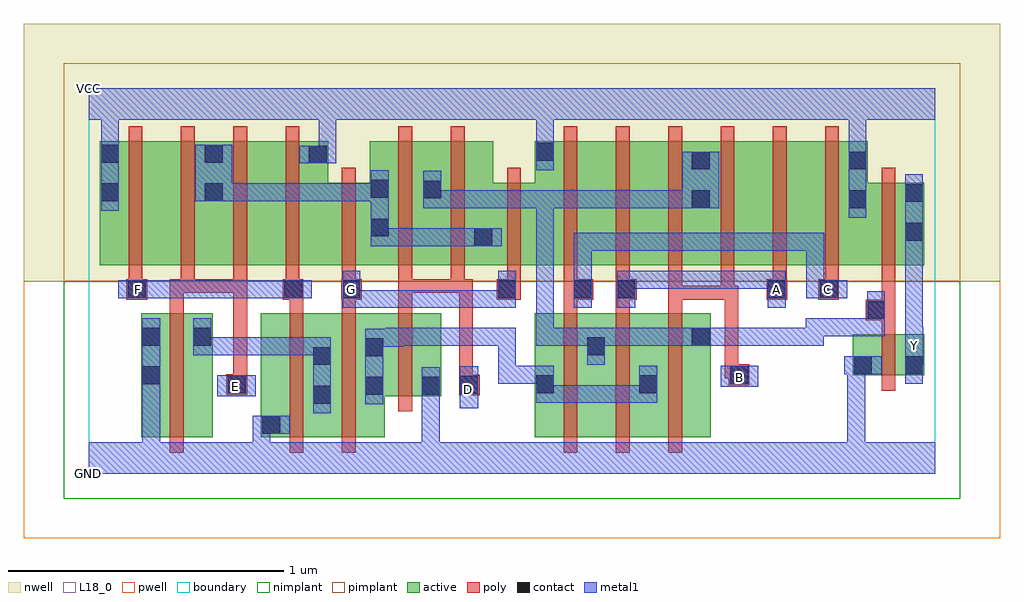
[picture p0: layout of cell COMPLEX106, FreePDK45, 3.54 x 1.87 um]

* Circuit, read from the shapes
.subckt COMPLEX106 A B C D E F G GND VCC Y
M1 n1 E GND VSUBS nfet w=0.45u l=0.05u
M2 n1 F GND VSUBS nfet w=0.45u l=0.05u
M3 n2 G n1 VSUBS nfet w=0.45u l=0.05u
M4 GND D n2 VSUBS nfet w=0.3u l=0.05u
M5 n3 C n2 VSUBS nfet w=0.45u l=0.05u
M6 n2 A n3 VSUBS nfet w=0.45u l=0.05u
M7 n3 B n2 VSUBS nfet w=0.45u l=0.05u
M8 Y n3 GND VSUBS nfet w=0.15u l=0.05u
M9 n4 F VCC n5 pfet w=0.45u l=0.05u
M10 n6 E n4 n5 pfet w=0.45u l=0.05u
M11 n7 E n6 n5 pfet w=0.45u l=0.05u
M12 VCC F n7 n5 pfet w=0.45u l=0.05u
M13 n6 G VCC n5 pfet w=0.3u l=0.05u m=2
M14 n3 D n6 n5 pfet w=0.45u l=0.05u m=2
M15 n8 C VCC n5 pfet w=0.45u l=0.05u
M16 n9 A n8 n5 pfet w=0.45u l=0.05u
M17 n3 B n9 n5 pfet w=0.45u l=0.05u
M18 n10 B n3 n5 pfet w=0.45u l=0.05u
M19 n11 A n10 n5 pfet w=0.45u l=0.05u
M20 VCC C n11 n5 pfet w=0.45u l=0.05u
M21 Y n3 VCC n5 pfet w=0.3u l=0.05u
.ends

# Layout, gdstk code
import gdstk
lib = gdstk.Library(unit=1e-6, precision=1e-09)
def R(c, l, rs):  # rectangles x0, y0, x1, y1
    for r in rs: c.add(gdstk.rectangle(r[:2], r[2:], *l))
def A(c, l, x, y, w, h, nx, ny, dx, dy):  # array of equal rectangles
    R(c, l, [(x+i*dx, y+j*dy, x+i*dx+w, y+j*dy+h) for i in range(nx) for j in range(ny)])
active = (1, 0)
pwell = (2, 0)
nwell = (3, 0)
nimplant = (4, 0)
pimplant = (5, 0)
poly = (9, 0)
contact = (10, 0)
metal1 = (11, 0)
L18_0 = (18, 0)
boundary = (235, 0)

complex106 = lib.new_cell('COMPLEX106')
R(complex106, active, [(0.19,0.132,0.45,0.582), (0.625,0.132,0.885,0.582), (0.625,0.132,0.7,0.582), (0.81,0.132,1.075,0.582), (1.62,0.132,1.88,0.582), (1.805,0.132,2.07,0.582), (1.995,0.132,2.26,0.582), (0.19,0.195,0.265,0.582), (0.375,0.195,0.45,0.582), (0.81,0.195,0.885,0.542), (1.62,0.195,1.695,0.582), (1.805,0.195,1.88,0.542), (1.995,0.195,2.07,0.542), (2.185,0.195,2.26,0.582), (1,0.2,1.075,0.497), (1,0.282,1.28,0.582), (1.205,0.282,1.28,0.582), (2.775,0.357,2.85,0.507), (2.775,0.357,3.035,0.507), (2.96,0.357,3.035,0.507), (0.04,0.757,0.115,1.207), (0.04,0.757,0.265,1.207), (0.265,0.757,0.492,1.207), (0.417,0.757,0.492,1.2), (0.417,0.757,0.645,1.207), (0.645,0.757,0.87,1.207), (0.795,0.757,1.095,1.057), (1.02,0.757,1.285,1.207), (1.02,0.757,1.095,1.2), (1.21,0.757,1.47,1.207), (1.21,0.757,1.285,1.2), (1.395,0.757,1.695,1.057), (1.62,0.757,1.845,1.207), (1.845,0.757,2.035,1.207), (2.035,0.757,2.26,1.207), (2.185,0.757,2.415,1.207), (2.185,0.757,2.26,1.2), (2.415,0.757,2.605,1.207), (2.605,0.757,2.83,1.207), (2.755,0.757,3.035,1.057), (2.755,0.757,2.83,1.175), (2.96,0.757,3.035,1.057), (1.395,0.822,1.47,1.07), (0.795,0.852,0.87,1.197), (1.62,0.937,1.695,1.207)])
R(complex106, pwell, [(-0.235,-0.235,3.31,0.7)])
R(complex106, nwell, [(-0.235,0.7,3.31,1.635)])
R(complex106, nimplant, [(-0.09,-0.09,3.165,0.7)])
R(complex106, pimplant, [(-0.09,0.7,3.165,1.49)])
A(complex106, poly, 1.725, 0.077, 0.05, 0.56, 3, 1, 0.19, 0)
A(complex106, poly, 1.725, 0.587, 0.05, 0.095, 3, 1, 0.19, 0)
A(complex106, poly, 0.145, 0.657, 0.05, 0.095, 4, 1, 0.19, 0)
A(complex106, poly, 1.315, 0.657, 0.05, 0.095, 3, 1, 0.205, 0)
A(complex106, poly, 0.145, 0.702, 0.05, 0.56, 4, 1, 0.19, 0)
A(complex106, poly, 1.725, 0.702, 0.05, 0.56, 6, 1, 0.19, 0)
R(complex106, poly, [(0.295,0.077,0.345,0.637), (0.73,0.077,0.78,0.637), (0.92,0.077,0.97,0.637), (1.125,0.227,1.175,0.637), (1.345,0.285,1.42,0.36), (0.5,0.287,0.575,0.362), (2.88,0.302,2.93,0.562), (1.345,0.31,1.395,0.707), (0.525,0.312,0.575,0.362), (0.525,0.312,0.575,0.362), (0.525,0.312,0.575,0.707), (2.325,0.322,2.4,0.397), (2.31,0.347,2.36,0.682), (2.31,0.347,2.375,0.397), (2.325,0.347,2.375,0.397), (2.88,0.512,2.93,0.607), (2.822,0.557,2.93,0.632), (2.88,0.582,2.93,0.752), (0.295,0.587,0.345,0.707), (0.73,0.587,0.78,0.682), (0.92,0.587,0.97,0.682), (1.125,0.587,1.175,0.707), (0.137,0.632,0.212,0.707), (0.705,0.632,0.78,0.707), (0.917,0.632,0.992,0.707), (1.482,0.632,1.57,0.707), (1.725,0.632,1.832,0.707), (1.915,0.632,1.99,0.707), (2.105,0.632,2.155,0.752), (2.105,0.632,2.345,0.682), (2.105,0.632,2.155,0.682), (2.105,0.632,2.155,0.682), (2.105,0.632,2.155,0.682), (2.295,0.632,2.345,0.752), (2.295,0.632,2.36,0.682), (2.462,0.632,2.537,0.707), (2.65,0.632,2.725,0.707), (0.295,0.657,0.385,0.707), (0.335,0.657,0.575,0.707), (0.335,0.657,0.385,0.707), (0.335,0.657,0.385,0.707), (0.525,0.657,0.575,0.707), (0.92,0.657,0.97,0.752), (1.125,0.657,1.175,0.752), (1.125,0.657,1.365,0.707), (1.125,0.657,1.175,0.707), (1.125,0.657,1.175,0.707), (1.125,0.657,1.175,0.707), (1.315,0.657,1.365,0.707), (1.315,0.657,1.365,0.707), (1.315,0.657,1.395,0.707), (1.915,0.657,1.965,0.752), (2.485,0.657,2.535,0.752), (2.675,0.657,2.725,0.752), (0.92,0.702,0.97,1.112), (1.125,0.702,1.175,1.262), (1.315,0.702,1.365,1.262), (1.52,0.702,1.57,1.112), (2.88,0.702,2.93,1.112)])
R(complex106, contact, [(0.63,0.145,0.695,0.21), (0.815,0.255,0.88,0.32), (1.005,0.287,1.07,0.352), (1.21,0.287,1.275,0.352), (1.35,0.29,1.415,0.355), (0.505,0.292,0.57,0.357), (1.625,0.292,1.69,0.357), (2,0.292,2.065,0.357), (0.195,0.325,0.26,0.39), (2.33,0.327,2.395,0.392), (2.78,0.362,2.845,0.427), (2.965,0.362,3.03,0.427), (0.815,0.395,0.88,0.46), (1.005,0.427,1.07,0.492), (1.81,0.43,1.875,0.495), (0.195,0.465,0.26,0.53), (0.38,0.465,0.445,0.53), (2.19,0.465,2.255,0.53), (2.827,0.562,2.892,0.627), (0.142,0.637,0.207,0.702), (0.71,0.637,0.775,0.702), (0.922,0.637,0.987,0.702), (1.487,0.637,1.552,0.702), (1.762,0.637,1.827,0.702), (1.92,0.637,1.985,0.702), (2.467,0.637,2.532,0.702), (2.655,0.637,2.72,0.702), (1.4,0.827,1.465,0.892), (2.965,0.847,3.03,0.912), (1.025,0.862,1.09,0.927), (2.19,0.965,2.255,1.03), (2.76,0.965,2.825,1.03), (2.965,0.987,3.03,1.052), (0.045,0.99,0.11,1.055), (0.422,0.99,0.487,1.055), (1.215,1,1.28,1.065), (1.025,1.002,1.09,1.067), (2.19,1.105,2.255,1.17), (2.76,1.105,2.825,1.17), (0.8,1.127,0.865,1.192), (0.045,1.13,0.11,1.195), (0.422,1.13,0.487,1.195), (1.625,1.137,1.69,1.202)])
R(complex106, metal1, [(0,0,3.075,0.115), (0.195,0.05,0.26,0.115), (0.195,0.05,0.26,0.115), (0.195,0.05,0.26,0.355), (0.595,0.05,0.66,0.115), (0.595,0.05,0.66,0.115), (0.595,0.05,0.66,0.21), (1.21,0.05,1.275,0.115), (1.21,0.05,1.275,0.115), (1.21,0.05,1.275,0.317), (2.755,0.05,2.82,0.115), (2.755,0.05,2.82,0.115), (2.755,0.05,2.82,0.427), (0.595,0.145,0.73,0.21), (0.815,0.22,0.88,0.495), (1.347,0.237,1.415,0.39), (1.005,0.252,1.07,0.527), (1.21,0.252,1.275,0.317), (1.21,0.252,1.275,0.317), (1.21,0.252,1.275,0.387), (1.625,0.257,1.69,0.392), (1.625,0.257,1.827,0.322), (1.762,0.257,1.827,0.322), (1.762,0.257,1.827,0.322), (1.762,0.257,1.827,0.322), (1.762,0.257,2.065,0.322), (2,0.257,2.065,0.322), (2,0.257,2.065,0.322), (2,0.257,2.065,0.392), (0.467,0.282,0.607,0.357), (0.195,0.29,0.26,0.565), (2.295,0.315,2.432,0.392), (1.487,0.327,1.552,0.392), (1.487,0.327,1.552,0.392), (1.487,0.327,1.552,0.392), (1.487,0.327,1.69,0.392), (1.487,0.327,1.552,0.53), (2.965,0.327,3.03,0.462), (2.745,0.362,2.88,0.427), (2.755,0.362,2.82,0.427), (2.755,0.362,2.82,0.427), (2.755,0.362,2.82,0.427), (2.755,0.362,2.82,0.427), (1.81,0.395,1.875,0.53), (2.965,0.397,3.03,0.462), (2.965,0.397,3.032,0.532), (0.38,0.43,0.445,0.565), (0.38,0.43,0.522,0.495), (0.457,0.43,0.522,0.495), (0.457,0.43,0.692,0.495), (0.627,0.43,0.692,0.495), (0.627,0.43,0.692,0.495), (0.627,0.43,0.692,0.495), (0.627,0.43,0.88,0.495), (1.005,0.462,1.142,0.527), (1.077,0.462,1.142,0.53), (1.077,0.465,1.28,0.53), (1.215,0.465,1.28,0.53), (1.215,0.465,1.28,0.53), (1.215,0.465,1.28,0.53), (1.215,0.465,1.552,0.53), (1.487,0.465,1.552,0.53), (1.625,0.465,1.69,0.53), (1.625,0.465,1.69,0.53), (1.625,0.465,1.69,0.53), (1.625,0.465,1.875,0.53), (1.625,0.465,1.69,1.03), (1.81,0.465,2.082,0.53), (2.017,0.465,2.082,0.53), (2.017,0.465,2.082,0.53), (2.017,0.465,2.082,0.53), (2.017,0.465,2.22,0.53), (2.155,0.465,2.22,0.53), (2.155,0.465,2.22,0.53), (2.155,0.465,2.29,0.53), (2.225,0.465,2.36,0.53), (2.295,0.465,2.36,0.53), (2.295,0.465,2.532,0.53), (2.467,0.465,2.532,0.53), (2.467,0.465,2.532,0.53), (2.467,0.465,2.532,0.53), (2.467,0.465,2.67,0.53), (2.605,0.465,2.67,0.565), (2.965,0.467,3.03,0.877), (2.605,0.5,2.67,0.565), (2.605,0.5,2.67,0.565), (2.605,0.5,2.892,0.565), (2.827,0.5,2.892,0.565), (2.827,0.5,2.892,0.592), (2.827,0.527,2.892,0.592), (2.827,0.527,2.892,0.592), (2.827,0.527,2.892,0.662), (0.922,0.602,0.987,0.667), (0.922,0.602,0.987,0.667), (0.922,0.602,0.987,0.737), (0.922,0.602,1.125,0.667), (1.06,0.602,1.125,0.667), (1.06,0.602,1.292,0.667), (1.227,0.602,1.292,0.667), (1.227,0.602,1.292,0.667), (1.227,0.602,1.292,0.667), (1.227,0.602,1.552,0.667), (1.487,0.602,1.552,0.667), (1.487,0.602,1.552,0.667), (1.487,0.602,1.552,0.737), (1.762,0.602,1.827,0.737), (1.92,0.602,1.985,0.737), (2.467,0.602,2.532,0.737), (0.107,0.637,0.247,0.702), (0.182,0.637,0.247,0.702), (0.182,0.637,0.247,0.702), (0.182,0.637,0.385,0.702), (0.32,0.637,0.385,0.702), (0.32,0.637,0.385,0.702), (0.32,0.637,0.385,0.702), (0.32,0.637,0.522,0.702), (0.457,0.637,0.522,0.702), (0.457,0.637,0.66,0.702), (0.595,0.637,0.66,0.702), (0.595,0.637,0.74,0.702), (0.675,0.637,0.81,0.702), (2.607,0.637,2.672,0.702), (2.607,0.637,2.672,0.702), (2.607,0.637,2.755,0.702), (2.607,0.637,2.672,0.875), (1.762,0.672,1.827,0.737), (1.762,0.672,1.827,0.737), (1.762,0.672,1.827,0.875), (1.92,0.672,2.012,0.737), (1.947,0.672,2.012,0.737), (1.947,0.672,2.22,0.737), (2.155,0.672,2.22,0.737), (2.155,0.672,2.357,0.737), (2.292,0.672,2.357,0.737), (2.292,0.672,2.357,0.737), (2.292,0.672,2.357,0.737), (2.292,0.672,2.532,0.737), (2.467,0.672,2.532,0.737), (2.467,0.672,2.532,0.737), (1.762,0.81,1.827,0.875), (1.762,0.81,2.012,0.875), (1.947,0.81,2.012,0.875), (1.947,0.81,2.012,0.875), (1.947,0.81,2.012,0.875), (1.947,0.81,2.22,0.875), (2.155,0.81,2.22,0.875), (2.155,0.81,2.395,0.875), (2.33,0.81,2.395,0.875), (2.33,0.81,2.395,0.875), (2.33,0.81,2.395,0.875), (2.33,0.81,2.532,0.875), (2.467,0.81,2.532,0.875), (2.467,0.81,2.532,0.875), (2.467,0.81,2.532,0.875), (2.467,0.81,2.672,0.875), (2.607,0.81,2.672,0.875), (2.965,0.812,3.03,1.087), (1.025,0.827,1.09,1.102), (1.025,0.827,1.125,0.892), (1.06,0.827,1.125,0.892), (1.06,0.827,1.292,0.892), (1.227,0.827,1.292,0.892), (1.227,0.827,1.292,0.892), (1.227,0.827,1.292,0.892), (1.227,0.827,1.43,0.892), (1.365,0.827,1.5,0.892), (2.76,0.93,2.825,1.205), (0.045,0.955,0.11,1.23), (1.215,0.965,1.28,1.03), (1.215,0.965,1.28,1.03), (1.215,0.965,1.28,1.1), (1.215,0.965,1.552,1.03), (1.487,0.965,1.552,1.03), (1.487,0.965,1.552,1.03), (1.487,0.965,1.552,1.03), (1.487,0.965,1.69,1.03), (1.625,0.965,1.69,1.03), (1.625,0.965,1.69,1.03), (1.625,0.965,1.69,1.03), (1.625,0.965,1.69,1.03), (1.625,0.965,1.69,1.03), (1.625,0.965,1.69,1.03), (1.625,0.965,1.69,1.03), (1.625,0.965,1.827,1.03), (1.762,0.965,1.827,1.03), (1.762,0.965,2.082,1.03), (2.017,0.965,2.082,1.03), (2.017,0.965,2.082,1.03), (2.017,0.965,2.082,1.03), (2.017,0.965,2.22,1.03), (2.155,0.965,2.22,1.03), (2.155,0.965,2.22,1.03), (2.155,0.965,2.29,1.17), (0.387,0.99,0.522,1.195), (0.457,0.99,0.522,1.055), (0.457,0.99,0.522,1.055), (0.457,0.99,0.692,1.055), (0.627,0.99,0.692,1.055), (0.627,0.99,0.692,1.055), (0.627,0.99,0.692,1.055), (0.627,0.99,0.83,1.055), (0.765,0.99,0.83,1.055), (0.765,0.99,0.83,1.055), (0.765,0.99,0.83,1.055), (0.765,0.99,1.09,1.055), (1.625,1.102,1.69,1.237), (0.765,1.127,0.9,1.192), (0.835,1.127,0.9,1.35), (2.76,1.14,2.825,1.35), (0.045,1.165,0.11,1.35), (1.625,1.172,1.69,1.35), (0,1.285,3.075,1.4)])
R(complex106, L18_0, [(0,0,3.075,0.115), (0.195,0.05,0.26,0.115), (0.195,0.05,0.26,0.115), (0.195,0.05,0.26,0.355), (0.595,0.05,0.66,0.115), (0.595,0.05,0.66,0.115), (0.595,0.05,0.66,0.21), (1.21,0.05,1.275,0.115), (1.21,0.05,1.275,0.115), (1.21,0.05,1.275,0.317), (2.755,0.05,2.82,0.115), (2.755,0.05,2.82,0.115), (2.755,0.05,2.82,0.427), (0.595,0.145,0.73,0.21), (1.347,0.237,1.415,0.39), (1.21,0.252,1.275,0.317), (1.21,0.252,1.275,0.317), (1.21,0.252,1.275,0.387), (1.347,0.272,1.412,0.337), (0.467,0.282,0.607,0.357), (0.502,0.282,0.567,0.347), (0.195,0.29,0.26,0.565), (2.295,0.315,2.432,0.392), (2.332,0.317,2.397,0.382), (2.965,0.327,3.03,0.462), (2.745,0.362,2.88,0.427), (2.755,0.362,2.82,0.427), (2.755,0.362,2.82,0.427), (2.755,0.362,2.82,0.427), (2.755,0.362,2.82,0.427), (2.965,0.397,3.03,0.462), (2.965,0.397,3.032,0.532), (2.967,0.432,3.032,0.497), (2.965,0.467,3.03,0.877), (0.922,0.602,0.987,0.667), (0.922,0.602,0.987,0.667), (0.922,0.602,1.125,0.667), (0.922,0.602,0.987,0.737), (1.06,0.602,1.125,0.667), (1.06,0.602,1.292,0.667), (1.227,0.602,1.292,0.667), (1.227,0.602,1.292,0.667), (1.227,0.602,1.292,0.667), (1.227,0.602,1.552,0.667), (1.487,0.602,1.552,0.667), (1.487,0.602,1.552,0.667), (1.487,0.602,1.552,0.737), (1.762,0.602,1.827,0.737), (1.92,0.602,1.985,0.737), (2.467,0.602,2.532,0.737), (0.107,0.637,0.247,0.702), (0.147,0.637,0.212,0.702), (0.182,0.637,0.247,0.702), (0.182,0.637,0.247,0.702), (0.182,0.637,0.385,0.702), (0.32,0.637,0.385,0.702), (0.32,0.637,0.385,0.702), (0.32,0.637,0.385,0.702), (0.32,0.637,0.522,0.702), (0.457,0.637,0.522,0.702), (0.457,0.637,0.66,0.702), (0.595,0.637,0.66,0.702), (0.595,0.637,0.74,0.702), (0.675,0.637,0.81,0.702), (0.922,0.637,0.987,0.702), (2.467,0.637,2.532,0.702), (2.607,0.637,2.672,0.702), (2.607,0.637,2.672,0.702), (2.607,0.637,2.672,0.875), (2.607,0.637,2.755,0.702), (2.652,0.637,2.717,0.702), (1.762,0.672,1.827,0.737), (1.762,0.672,1.827,0.737), (1.762,0.672,1.827,0.875), (1.92,0.672,2.012,0.737), (1.947,0.672,2.012,0.737), (1.947,0.672,2.22,0.737), (2.155,0.672,2.22,0.737), (2.155,0.672,2.357,0.737), (2.292,0.672,2.357,0.737), (2.292,0.672,2.357,0.737), (2.292,0.672,2.357,0.737), (2.292,0.672,2.532,0.737), (2.467,0.672,2.532,0.737), (2.467,0.672,2.532,0.737), (1.762,0.81,1.827,0.875), (1.762,0.81,2.012,0.875), (1.947,0.81,2.012,0.875), (1.947,0.81,2.012,0.875), (1.947,0.81,2.012,0.875), (1.947,0.81,2.22,0.875), (2.155,0.81,2.22,0.875), (2.155,0.81,2.395,0.875), (2.33,0.81,2.395,0.875), (2.33,0.81,2.395,0.875), (2.33,0.81,2.395,0.875), (2.33,0.81,2.532,0.875), (2.467,0.81,2.532,0.875), (2.467,0.81,2.532,0.875), (2.467,0.81,2.532,0.875), (2.467,0.81,2.672,0.875), (2.607,0.81,2.672,0.875), (2.965,0.812,3.03,1.087), (2.76,0.93,2.825,1.205), (0.045,0.955,0.11,1.23), (1.625,1.102,1.69,1.237), (0.765,1.127,0.9,1.192), (0.835,1.127,0.9,1.35), (2.76,1.14,2.825,1.35), (0.045,1.165,0.11,1.35), (1.625,1.172,1.69,1.35), (0,1.285,3.075,1.4)])
R(complex106, boundary, [(0,0,3.075,1.4)])
complex106.add(gdstk.Label('A', (2.5,0.67), layer=11, texttype=0))
complex106.add(gdstk.Label('B', (2.365,0.35), layer=11, texttype=0))
complex106.add(gdstk.Label('C', (2.685,0.67), layer=11, texttype=0))
complex106.add(gdstk.Label('D', (1.38,0.305), layer=11, texttype=0))
complex106.add(gdstk.Label('E', (0.535,0.315), layer=11, texttype=0))
complex106.add(gdstk.Label('F', (0.18,0.67), layer=11, texttype=0))
complex106.add(gdstk.Label('G', (0.955,0.67), layer=11, texttype=0))
complex106.add(gdstk.Label('Y', (3,0.465), layer=11, texttype=0))
complex106.add(gdstk.Label('VCC', (0,1.4), layer=11, texttype=0))
complex106.add(gdstk.Label('GND', (0,0), layer=11, texttype=0))

lib.write_gds('COMPLEX106.gds')
